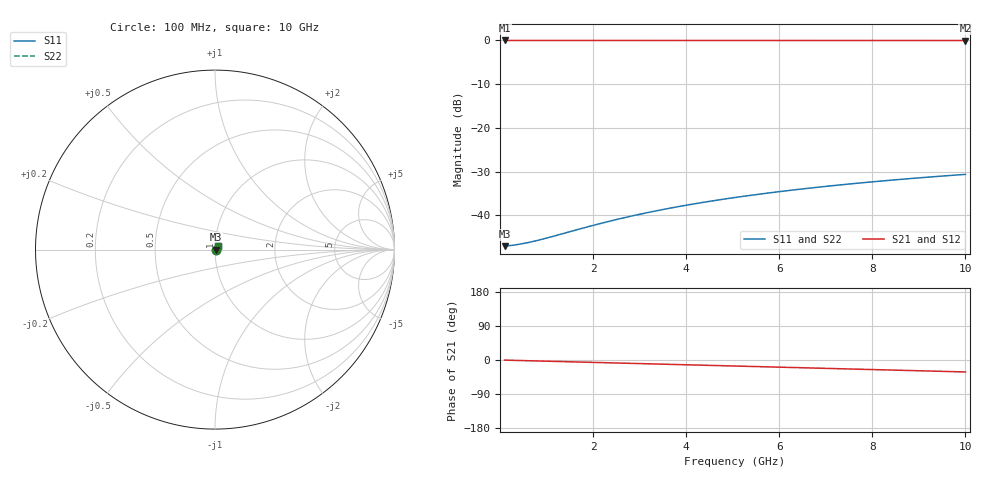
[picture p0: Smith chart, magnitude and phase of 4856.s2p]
# Hz S RI R 50.00
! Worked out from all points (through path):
!   100 points, 100 MHz to 10 GHz, reference 50 ohm
!   highest |S21| = -0.04 dB at 100 MHz (marker M1); lowest = 0.0 dB at 10 GHz (marker M2)
!   group delay of S21, straight-line fit = 8.76 ps
!   lowest |S11| = -47.0 dB at 100 MHz (marker M3), VSWR 1.01, Z = 50.4 + j0.0286 ohm
!   |S11| at or under -10 dB: start of sweep to end of sweep
!   |S22| runs from -47.0 to -30.6 dB; largest |S21 - S12| = 0
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1e8  0.00443 0.000284  0.9955 -0.00547  0.9955 -0.00547  0.00443 0.000284
3e8  0.00449 0.00085  0.9954 -0.0164  0.9954 -0.0164  0.00449 0.00085
4e8  0.00452 0.00113  0.9952 -0.0219  0.9952 -0.0219  0.00452 0.00113
5e8  0.00455 0.00142  0.9951 -0.0273  0.9951 -0.0273  0.00455 0.00142
7e8  0.00461 0.00198  0.9947 -0.0383  0.9947 -0.0383  0.00461 0.00198
1e9  0.00471 0.00282  0.9939 -0.0547  0.9939 -0.0547  0.00471 0.00282
1.8e9  0.00511 0.00505  0.9904 -0.0983  0.9904 -0.0983  0.00511 0.00505
2.2e9  0.00538 0.00615  0.988 -0.12  0.988 -0.12  0.00538 0.00615
2.6e9  0.0057 0.00723  0.9851 -0.1417  0.9851 -0.1417  0.0057 0.00723
3e9  0.00606 0.0083  0.9817 -0.1633  0.9817 -0.1633  0.00606 0.0083
3.4e9  0.00647 0.00935  0.9778 -0.1849  0.9778 -0.1849  0.00647 0.00935
3.8e9  0.00693 0.0104  0.9735 -0.2063  0.9735 -0.2063  0.00693 0.0104
4.2e9  0.00743 0.0114  0.9686 -0.2277  0.9686 -0.2277  0.00743 0.0114
4.6e9  0.00798 0.0124  0.9634 -0.2489  0.9634 -0.2489  0.00798 0.0124
5.1e9  0.00872 0.0136  0.9561 -0.2753  0.9561 -0.2753  0.00872 0.0136
5.5e9  0.00936 0.0145  0.9497 -0.2963  0.9497 -0.2963  0.00936 0.0145
5.9e9  0.01 0.0154  0.9429 -0.3171  0.9429 -0.3171  0.01 0.0154
6.7e9  0.0115 0.017  0.928 -0.3583  0.928 -0.3583  0.0115 0.017
7.5e9  0.0132 0.0186  0.9112 -0.3988  0.9112 -0.3988  0.0132 0.0186
8.4e9  0.0152 0.0201  0.8902 -0.4435  0.8902 -0.4435  0.0152 0.0201
9.2e9  0.0171 0.0213  0.8696 -0.4823  0.8696 -0.4823  0.0171 0.0213
1e10  0.0191 0.0223  0.8474 -0.5202  0.8474 -0.5202  0.0191 0.0223
